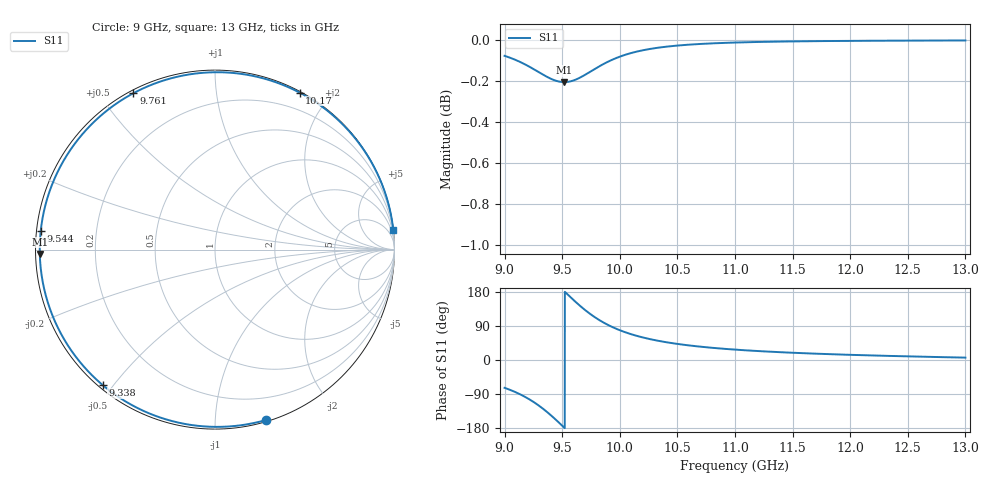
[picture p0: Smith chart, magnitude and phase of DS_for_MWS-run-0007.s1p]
! TOUCHSTONE file generated by CST DESIGN STUDIO
! Date and time: Tue Feb  4 17:11:10 2025
! Project name: C:\Work\MatlabApps\UnitCellOptimizationMatlab\CST\unitcell.cst
! Tree item: Tasks\Sweep1\SPara1\S-Parameters
! Header version: 2024
! Port assignment regex: !\s*Touchstone port\s*([0-9]+)\s*=\s*(CST MWS port|CST DES external port|CST DES block port)\s*(.+)\s* \(\"(.*)\"\)(\s*mode\s*([0-9]+))?.*
! Touchstone port assignment:
! Touchstone port 1 = CST DES external port 1 ("")
# GHz S MA R 50
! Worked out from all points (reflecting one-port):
!   4001 points, 9 GHz to 13 GHz, reference 50 ohm
!   lowest |S11| = -0.2 dB at 9.518 GHz (marker M1), VSWR 84.00, Z = 0.595 - j0.607 ohm
!   phase of S11 starts at -73 deg and turns -280 deg over the sweep
!   S11 on the Smith chart (normalised r, x): 9 GHz: 0.01, -1.34; 9.338 GHz: 0.01, -0.47; 9.544 GHz: 0.01, +0.05; 9.761 GHz: 0.01, +0.61; 10.17 GHz: 0.01, +1.68; 13 GHz: 0, +18
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9  0.9909 -73.5
9.092  0.9888 -84.5
9.197  0.9856 -100.6
9.271  0.9829 -114.7
9.338  0.9804 -129.7
9.382  0.9789 -140.7
9.428  0.9776 -152.9
9.465  0.9769 -163.3
9.5  0.9765 -173.4
9.518  0.9765 -178.6
9.544  0.9766 173.8
9.598  0.9774 158.4
9.658  0.979 142.1
9.709  0.9809 129.3
9.761  0.9828 117.6
9.811  0.9847 107.4
9.866  0.9867 97.6
10  0.9905 78.6
10.083  0.9922 69.6
10.172  0.9937 61.7
10.322  0.9954 51.3
10.5  0.9966 42.4
10.722  0.9976 34.5
11  0.9983 27.4
11.5  0.999 19.1
12  0.9993 13.6
12.5  0.9994 9.6
13  0.9995 6.3
